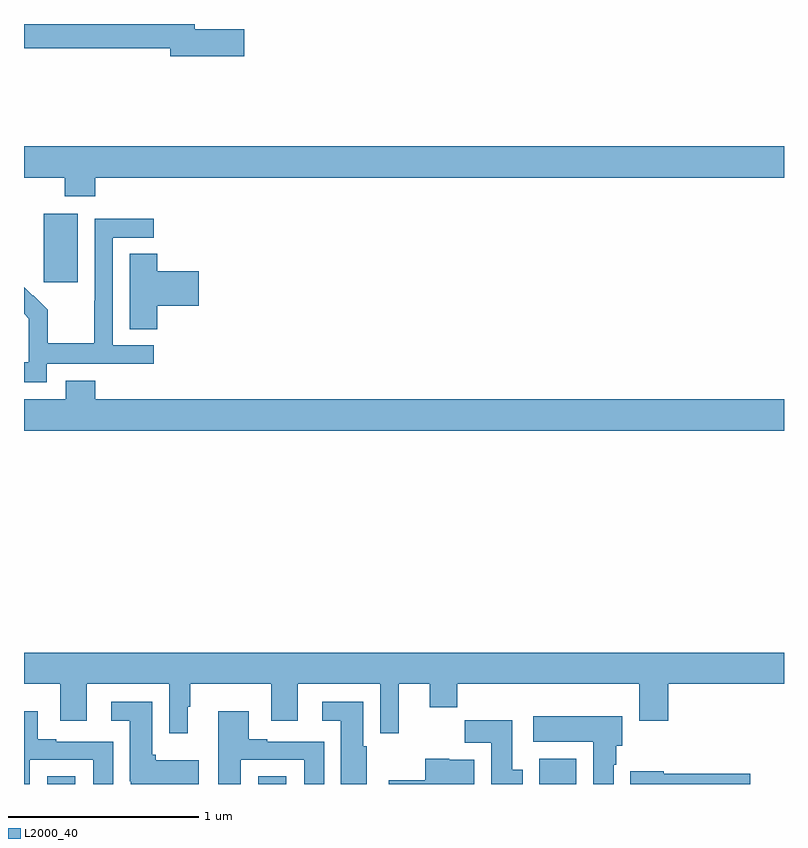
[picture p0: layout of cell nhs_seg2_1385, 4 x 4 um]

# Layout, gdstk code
import gdstk
lib = gdstk.Library(unit=1e-6, precision=1e-09)
def R(c, l, rs):  # rectangles x0, y0, x1, y1
    for r in rs: c.add(gdstk.rectangle(r[:2], r[2:], *l))
def P(c, l, *ps):  # polygons
    for p in ps: c.add(gdstk.Polygon(p, *l))
L2000_40 = (2000, 40)

nhs_seg2_1385 = lib.new_cell('nhs_seg2_1385')
R(nhs_seg2_1385, L2000_40, [(183.122,621.8,183.271,621.842), (184.232,621.8,184.381,621.842), (185.711,621.8,185.907,621.934), (183.104,624.441,183.283,624.802)])
P(nhs_seg2_1385, L2000_40, [(184.159,625.772),(183.898,625.772),(183.898,625.8),(183,625.8),(183,625.672),(183.77,625.672),(183.77,625.63),(184.159,625.63)],
  [(183.374,624.992),(187,624.992),(187,625.156),(183,625.156),(183,624.992),(183.214,624.992),(183.214,624.893),(183.374,624.893)],
  [(183.12,624.012),(183.682,624.012),(183.682,624.108),(183.468,624.108),(183.468,624.675),(183.682,624.675),(183.682,624.774),(183.372,624.774),(183.372,624.344),(183.37,624.344),(183.37,624.121),(183.125,624.121),(183.125,624.295),(183.048,624.372),(183.045,624.369),(183,624.415),(183,624.276),(183.026,624.25),(183.026,624.153),(183.024,624.153),(183.024,624.019),(183,624.019),(183,623.915),(183.12,623.915)],
  [(183.701,624.317),(183.919,624.317),(183.919,624.5),(183.701,624.5),(183.701,624.59),(183.557,624.59),(183.557,624.193),(183.701,624.193)],
  [(187,623.824),(183.374,623.824),(183.374,623.923),(183.221,623.923),(183.221,623.824),(183,623.824),(183,623.66),(187,623.66)],
  [(183.862,622.206),(183.874,622.206),(183.874,622.328),(184.301,622.328),(184.301,622.134),(184.441,622.134),(184.441,622.328),(184.875,622.328),(184.875,622.068),(184.972,622.068),(184.972,622.328),(185.135,622.328),(185.135,622.204),(185.279,622.204),(185.279,622.328),(186.239,622.328),(186.239,622.134),(186.392,622.134),(186.392,622.328),(187,622.328),(187,622.492),(183,622.492),(183,622.328),(183.191,622.328),(183.191,622.134),(183.331,622.134),(183.331,622.328),(183.765,622.328),(183.765,622.068),(183.862,622.068)],
  [(184.804,621.999),(184.786,621.999),(184.786,622.234),(184.569,622.234),(184.569,622.133),(184.667,622.133),(184.667,621.8),(184.804,621.8)],
  [(183.919,621.925),(183.694,621.925),(183.694,621.954),(183.676,621.954),(183.676,622.234),(183.459,622.234),(183.459,622.133),(183.557,622.133),(183.557,621.814),(183.561,621.814),(183.561,621.8),(183.919,621.8)],
  [(183.031,621.927),(183.365,621.927),(183.365,621.8),(183.469,621.8),(183.469,622.023),(183.169,622.023),(183.169,622.036),(183.073,622.036),(183.073,622.183),(183,622.183),(183,621.8),(183.031,621.8)],
  [(184.141,621.927),(184.475,621.927),(184.475,621.8),(184.579,621.8),(184.579,622.023),(184.279,622.023),(184.279,622.036),(184.183,622.036),(184.183,622.183),(184.022,622.183),(184.022,621.8),(184.141,621.8)],
  [(186.103,621.902),(186.118,621.902),(186.118,622.002),(186.148,622.002),(186.148,622.156),(185.679,622.156),(185.679,622.022),(185.996,622.022),(185.996,621.8),(186.103,621.8)],
  [(185.626,621.876),(185.569,621.876),(185.569,622.135),(185.32,622.135),(185.32,622.016),(185.459,622.016),(185.459,621.8),(185.626,621.8)],
  [(185.371,621.928),(185.238,621.928),(185.238,621.934),(185.113,621.934),(185.113,621.82),(184.92,621.82),(184.92,621.8),(185.371,621.8)],
  [(186.823,621.855),(186.366,621.855),(186.366,621.868),(186.191,621.868),(186.191,621.8),(186.823,621.8)])

lib.write_gds('nhs_seg2_1385.gds')
